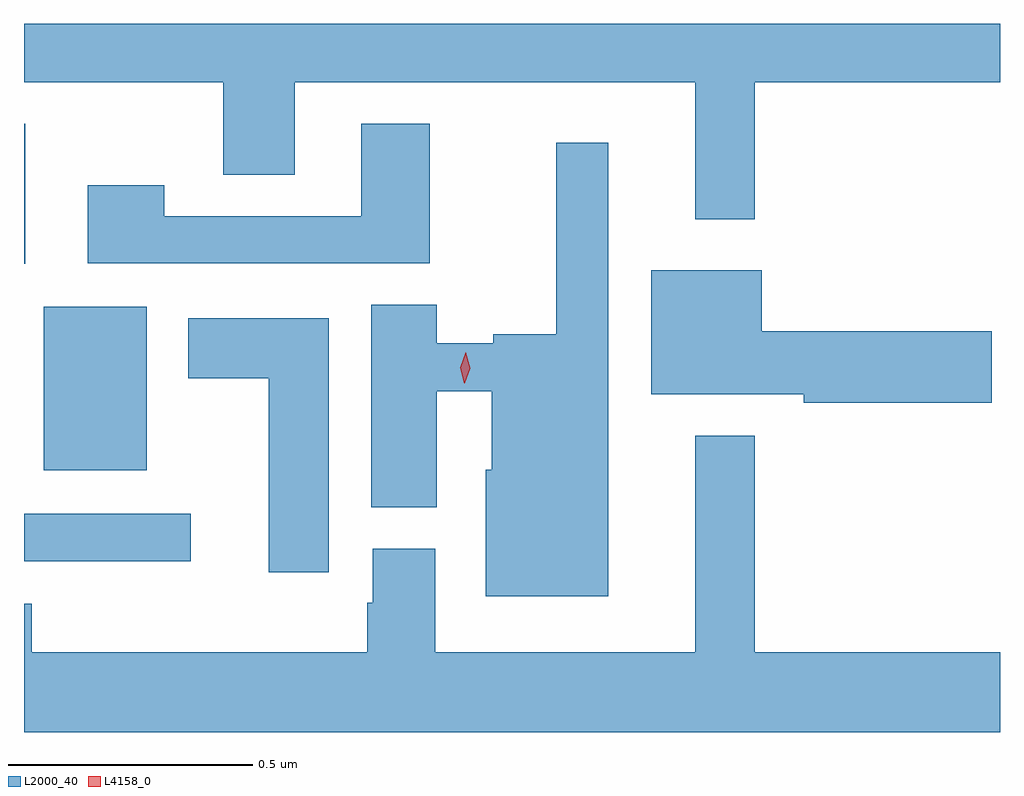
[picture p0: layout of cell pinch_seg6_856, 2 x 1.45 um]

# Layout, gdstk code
import gdstk
lib = gdstk.Library(unit=1e-6, precision=1e-09)
def R(c, l, rs):  # rectangles x0, y0, x1, y1
    for r in rs: c.add(gdstk.rectangle(r[:2], r[2:], *l))
def P(c, l, *ps):  # polygons
    for p in ps: c.add(gdstk.Polygon(p, *l))
L2000_40 = (2000, 40)
L4158_0 = (4158, 0)

pinch_seg6_856 = lib.new_cell('pinch_seg6_856')
R(pinch_seg6_856, L2000_40, [(129.784,972.995,130.126,973.092), (129.824,973.181,130.036,973.516), (129.784,973.604,129.787,973.891)])
P(pinch_seg6_856, L2000_40, [(131.281,973.976),(131.784,973.976),(131.784,974.096),(129.784,974.096),(129.784,973.976),(130.192,973.976),(130.192,973.786),(130.339,973.786),(130.339,973.976),(131.159,973.976),(131.159,973.695),(131.281,973.695)],
  [(130.615,973.891),(130.475,973.891),(130.475,973.701),(130.071,973.701),(130.071,973.765),(129.915,973.765),(129.915,973.605),(130.615,973.605)],
  [(130.981,973.852),(130.875,973.852),(130.875,973.46),(130.746,973.46),(130.746,973.441),(130.63,973.441),(130.63,973.52),(130.496,973.52),(130.496,973.105),(130.63,973.105),(130.63,973.343),(130.742,973.343),(130.742,973.182),(130.73,973.182),(130.73,972.923),(130.981,972.923)],
  [(131.767,973.466),(131.296,973.466),(131.296,973.591),(131.069,973.591),(131.069,973.337),(131.382,973.337),(131.382,973.319),(131.767,973.319)],
  [(130.408,973.492),(130.121,973.492),(130.121,973.37),(130.286,973.37),(130.286,972.972),(130.408,972.972)],
  [(131.784,972.808),(131.281,972.808),(131.281,973.252),(131.159,973.252),(131.159,972.808),(130.627,972.808),(130.627,973.02),(130.499,973.02),(130.499,972.909),(130.487,972.909),(130.487,972.808),(129.8,972.808),(129.8,972.907),(129.784,972.907),(129.784,972.644),(131.784,972.644)])
P(pinch_seg6_856, L4158_0, [(130.686,973.359),(130.678,973.391),(130.689,973.423),(130.689,973.423),(130.689,973.423),(130.698,973.39),(130.687,973.359),(130.687,973.359)])

lib.write_gds('pinch_seg6_856.gds')
